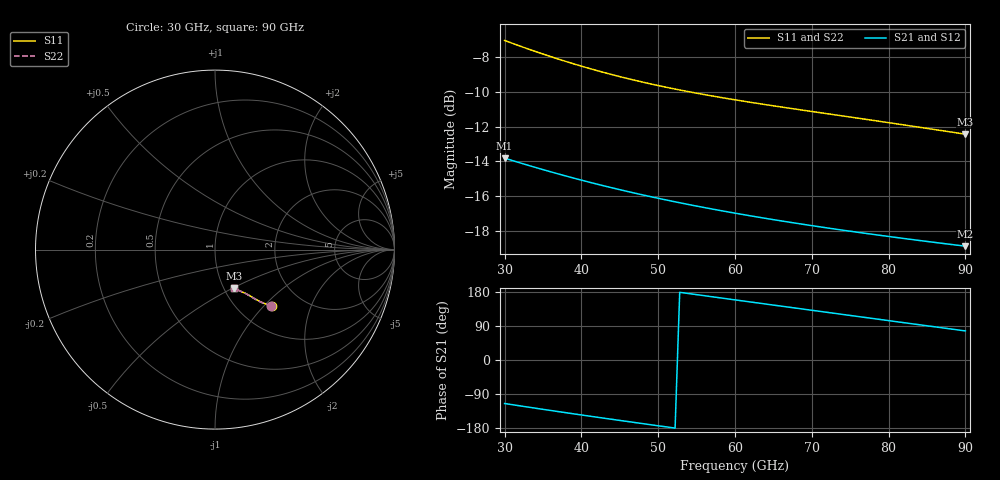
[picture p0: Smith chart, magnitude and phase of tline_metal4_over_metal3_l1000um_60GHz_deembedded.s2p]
! Created with skrf 2.2.0 (http://scikit-rf.org).
# GHz S DB R 50.0
! Port[1] = P1
! Port[2] = P2
!freq dBS11 angS11 dBS21 angS21 dBS12 angS12 dBS22 angS22
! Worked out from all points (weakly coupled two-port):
!   101 points, 30 GHz to 90 GHz, reference 50 ohm
!   highest |S21| = -13.82 dB at 30 GHz (marker M1); lowest = -18.9 dB at 90 GHz (marker M2)
!   lowest |S11| = -12.4 dB at 90 GHz (marker M3), VSWR 1.63, Z = 55.8 - j25.3 ohm
!   |S11| at or under -10 dB: 54.03 GHz to end of sweep
!   |S22| runs from -12.5 to -7.1 dB; largest |S21 - S12| = 3.5e-13
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30  -7.05 -44.7  -13.82 -114.8  -13.82 -114.8  -7.06 -44.9
32.4  -7.43 -46.2  -14.14 -122.3  -14.14 -122.3  -7.45 -46.4
34.8  -7.80 -47.5  -14.45 -129.6  -14.45 -129.6  -7.82 -47.6
37.2  -8.15 -48.5  -14.75 -136.8  -14.75 -136.8  -8.17 -48.7
40.2  -8.55 -49.7  -15.10 -145.6  -15.10 -145.6  -8.58 -49.9
42.6  -8.85 -50.5  -15.37 -152.6  -15.37 -152.6  -8.88 -50.7
45  -9.13 -51.2  -15.63 -159.4  -15.63 -159.4  -9.16 -51.4
47.4  -9.38 -51.8  -15.87 -166.2  -15.87 -166.2  -9.42 -52.1
50.4  -9.68 -52.6  -16.16 -174.7  -16.16 -174.7  -9.72 -52.8
52.8  -9.89 -53.2  -16.38 178.6  -16.38 178.6  -9.94 -53.4
55.2  -10.10 -53.7  -16.59 171.9  -16.59 171.9  -10.15 -54.0
60  -10.46 -54.9  -16.98 158.7  -16.98 158.7  -10.52 -55.2
63  -10.67 -55.7  -17.21 150.4  -17.21 150.4  -10.74 -56.0
65.4  -10.83 -56.4  -17.38 143.8  -17.38 143.8  -10.90 -56.6
67.8  -10.99 -57.1  -17.55 137.3  -17.55 137.3  -11.06 -57.3
70.2  -11.15 -57.8  -17.71 130.7  -17.71 130.7  -11.22 -58.0
72.6  -11.30 -58.5  -17.87 124.1  -17.87 124.1  -11.38 -58.7
75  -11.45 -59.2  -18.02 117.6  -18.02 117.6  -11.54 -59.4
77.4  -11.61 -60.0  -18.17 111.0  -18.17 111.0  -11.69 -60.2
80.4  -11.80 -60.9  -18.35 102.8  -18.35 102.8  -11.89 -61.0
85.2  -12.12 -62.3  -18.62 89.8  -18.62 89.8  -12.22 -62.4
90  -12.44 -63.6  -18.88 76.7  -18.88 76.7  -12.55 -63.7
